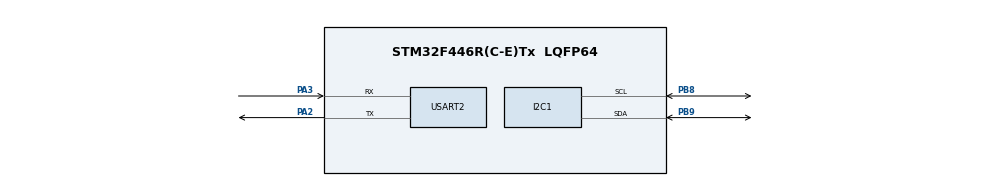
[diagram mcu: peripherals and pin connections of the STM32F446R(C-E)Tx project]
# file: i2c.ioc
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Mcu.Family=STM32F4
Mcu.Name=STM32F446R(C-E)Tx
Mcu.Package=LQFP64
NVIC.PriorityGroup=NVIC_PRIORITYGROUP_4
PA2.Mode=Asynchronous
PA2.Signal=USART2_TX
PA3.Mode=Asynchronous
PA3.Signal=USART2_RX
PB8.GPIO_Pu=GPIO_PULLUP
PB8.Mode=I2C
PB8.Signal=I2C1_SCL
PB9.GPIO_Pu=GPIO_PULLUP
PB9.Mode=I2C
PB9.Signal=I2C1_SDA
ProjectManager.HeapSize=0x200
ProjectManager.StackSize=0x400
ProjectManager.TargetToolchain=CMake
RCC.CortexFreq_Value=16000000
RCC.USBFreq_Value=96000000
RCC.VCOOutputFreq_Value=192000000
USART2.VirtualMode=VM_ASYNC
board=custom

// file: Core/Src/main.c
/* USER CODE BEGIN Header */
/**
  ******************************************************************************
  * @file           : main.c
  * @brief          : Main program body
  ******************************************************************************
  * @attention
  *
  * Copyright (c) 2025 STMicroelectronics.
  * All rights reserved.
  *
  * This software is licensed under terms that can be found in the LICENSE file
  * in the root directory of this software component.
  * If no LICENSE file comes with this software, it is provided AS-IS.
  *
  ******************************************************************************
  */
/* USER CODE END Header */
#include "main.h"
#include <stdio.h>
#include <math.h>

I2C_HandleTypeDef hi2c1;
UART_HandleTypeDef huart2;

/* USER CODE BEGIN PV */
#define MPU6050_ADDR 0xD0
#define SMPLRT_DIV_REG 0x19
#define GYRO_CONFIG_REG 0x1B
#define ACCEL_CONFIG_REG 0x1C
#define PWR_MGMT_1_REG 0x6B
#define WHO_AM_I_REG 0x75

int16_t Accel_X_RAW, Accel_Y_RAW, Accel_Z_RAW;
int16_t Gyro_X_RAW, Gyro_Y_RAW, Gyro_Z_RAW;
float Ax, Ay, Az;
float Gx, Gy, Gz;

float roll = 0, pitch = 0, yaw = 0;
float Gx_off = 0, Gy_off = 0, Gz_off = 0;

uint32_t previous_tick;
float dt = 0.01;
/* USER CODE END PV */

void SystemClock_Config(void);
static void MX_GPIO_Init(void);
static void MX_I2C1_Init(void);
static void MX_USART2_UART_Init(void);

/* USER CODE BEGIN 0 */
void MPU6050_Init (void) {
    uint8_t check, data;

    // 1. 장치 연결 확인 (WHO_AM_I 확인)
    HAL_I2C_Mem_Read(&hi2c1, MPU6050_ADDR, WHO_AM_I_REG, 1, &check, 1, 1000);

    if (check == 0x68) {
        // 장치 깨우기
        data = 0x00;
        HAL_I2C_Mem_Write(&hi2c1, MPU6050_ADDR, PWR_MGMT_1_REG, 1, &data, 1, 1000);
        // 자이로 범위 설정 (+- 500 deg/s)
        data = 0x08;
        HAL_I2C_Mem_Write(&hi2c1, MPU6050_ADDR, GYRO_CONFIG_REG, 1, &data, 1, 1000);
        // 가속도 범위 설정 (+- 2g)
        data = 0x00;
        HAL_I2C_Mem_Write(&hi2c1, MPU6050_ADDR, ACCEL_CONFIG_REG, 1, &data, 1, 1000);

        printf("MPU6050 Initialized Successfully!\r\n");
    }
}

void MPU6050_Read_All(void) {
    uint8_t Rec_Data[14];
    // 가속도(0x3B)부터 14바이트(Accel + Temp + Gyro) 읽기
    HAL_I2C_Mem_Read(&hi2c1, MPU6050_ADDR, 0x3B, 1, Rec_Data, 14, 1000);

    // 가속도 변환 (Sensitivity: 16384.0 for +-2g)
    Accel_X_RAW = (int16_t)(Rec_Data[0] << 8 | Rec_Data[1]);
    Accel_Y_RAW = (int16_t)(Rec_Data[2] << 8 | Rec_Data[3]);
    Accel_Z_RAW = (int16_t)(Rec_Data[4] << 8 | Rec_Data[5]);
    Ax = Accel_X_RAW / 16384.0;
    Ay = Accel_Y_RAW / 16384.0;
    Az = Accel_Z_RAW / 16384.0;

    // 자이로 변환 (Sensitivity: 65.5 for +-500deg/s)
    Gyro_X_RAW = (int16_t)(Rec_Data[8] << 8 | Rec_Data[9]);
    Gyro_Y_RAW = (int16_t)(Rec_Data[10] << 8 | Rec_Data[11]);
    Gyro_Z_RAW = (int16_t)(Rec_Data[12] << 8 | Rec_Data[13]);
    Gx = (Gyro_X_RAW / 65.5) - Gx_off;
    Gy = (Gyro_Y_RAW / 65.5) - Gy_off;
    Gz = (Gyro_Z_RAW / 65.5) - Gz_off;
}

void I2C1_Flush_Bus(void) {
    GPIO_InitTypeDef GPIO_InitStruct = {0};

    // 1. I2C 클럭 및 GPIO 클럭 활성화
    __HAL_RCC_GPIOB_CLK_ENABLE();

    // 2. SCL(PB8)을 일반 출력(Push-Pull)으로 설정
    GPIO_InitStruct.Pin = GPIO_PIN_8;
    GPIO_InitStruct.Mode = GPIO_MODE_OUTPUT_PP;
    GPIO_InitStruct.Pull = GPIO_PULLUP;
    GPIO_InitStruct.Speed = GPIO_SPEED_FREQ_VERY_HIGH;
    HAL_GPIO_Init(GPIOB, &GPIO_InitStruct);

    // 3. SDA(PB9)를 입력으로 설정 (상태 확인용)
    GPIO_InitStruct.Pin = GPIO_PIN_9;
    GPIO_InitStruct.Mode = GPIO_MODE_INPUT;
    HAL_GPIO_Init(GPIOB, &GPIO_InitStruct);

    // 4. SCL을 9번 흔들어서 센서의 전송을 강제 종료시킴
    for (int i = 0; i < 9; i++) {
        HAL_GPIO_WritePin(GPIOB, GPIO_PIN_8, GPIO_PIN_RESET);
        HAL_Delay(1);
        HAL_GPIO_WritePin(GPIOB, GPIO_PIN_8, GPIO_PIN_SET);
        HAL_Delay(1);
    }

    // 5. I2C 핀 설정을 다시 원래대로 돌려놓기 위해 비활성화
    HAL_GPIO_DeInit(GPIOB, GPIO_PIN_8);
    HAL_GPIO_DeInit(GPIOB, GPIO_PIN_9);
}
/* USER CODE END 0 */

int main(void)
{

  /* MCU Configuration--------------------------------------------------------*/

  /* Reset of all peripherals, Initializes the Flash interface and the Systick. */
  HAL_Init();

  /* Configure the system clock */
  SystemClock_Config();

  /* Initialize all configured peripherals */
  MX_GPIO_Init();
  MX_I2C1_Init();
  MX_USART2_UART_Init();
  /* USER CODE BEGIN 2 */
  printf("Power Cycling Sensor...\r\n");

  // 1. 센서 전원 끄기 (PA0 Low)
  HAL_GPIO_WritePin(GPIOA, GPIO_PIN_0, GPIO_PIN_RESET);
  HAL_Delay(500); // 0.5초 대기 (USB 뽑은 효과)

  // 2. 센서 전원 켜기 (PA0 High)
  HAL_GPIO_WritePin(GPIOA, GPIO_PIN_0, GPIO_PIN_SET);
  HAL_Delay(500); // 센서가 부팅될 때까지 충분히 대기

  // 3. 그다음 I2C 버스 청소 및 초기화 실행
  I2C1_Flush_Bus();
  __HAL_RCC_I2C1_FORCE_RESET();
  HAL_Delay(10);
  __HAL_RCC_I2C1_RELEASE_RESET();

  MX_I2C1_Init();
  HAL_Delay(100);

  MPU6050_Init();

  uint8_t who_am_i = 0;
  HAL_StatusTypeDef res = HAL_I2C_Mem_Read(&hi2c1, MPU6050_ADDR, 0x75, 1, &who_am_i, 1, 100);

  if (res == HAL_OK && who_am_i == 0x68) {
      printf("Success! Sensor Found: 0x%X\r\n", who_am_i);
  } else {
      printf("Failed! Error Code: %d, WHO_AM_I: 0x%X\r\n", res, who_am_i);
      // 여기서 실패하면 다시 I2C_Flush_Bus를 실행하거나 소프트웨어 리셋을 고려해야 합니다.
  }

  // 자이로 영점 조절 (Calibration) - 약 1초간 정지 상태 유지 필요
  printf("Calibrating Gyro... Do not move!\r\n");
  float sum_x = 0, sum_y = 0, sum_z = 0;
  for(int i=0; i<200; i++) {
      MPU6050_Read_All();
      sum_x += (Gyro_X_RAW / 65.5);
      sum_y += (Gyro_Y_RAW / 65.5);
      sum_z += (Gyro_Z_RAW / 65.5);
      HAL_Delay(5);
  }
  Gx_off = sum_x / 200.0;
  Gy_off = sum_y / 200.0;
  Gz_off = sum_z / 200.0;
  printf("Calibration Done!\r\n");

  previous_tick = HAL_GetTick();
  /* USER CODE END 2 */

  /* Infinite loop */
  while (1)
  {
    if (HAL_GetTick() - previous_tick >= 10)
    {
      previous_tick = HAL_GetTick();
      MPU6050_Read_All();

      // 1. 가속도로 Roll, Pitch 계산
    float roll_acc = atan2(Ay, Az) * 180.0 / M_PI;
    float pitch_acc = atan2(-Ax, sqrt(Ay * Ay + Az * Az)) * 180.0 / M_PI;

    // 2. 상보 필터 적용
    roll = 0.96 * (roll + Gx * dt) + 0.04 * roll_acc;
    pitch = 0.96 * (pitch + Gy * dt) + 0.04 * pitch_acc;
    yaw += Gz * dt;

    // [추가] 3. Yaw 범위 제한 (0~360도)
    if (yaw >= 360.0f) yaw -= 360.0f;
    if (yaw < 0.0f) yaw += 360.0f;

    // [추가] 4. Roll/Pitch 각도 가독성 처리 (-180~180 범위로 조정)
    if (roll > 180.0f) roll -= 360.0f;
    if (roll < -180.0f) roll += 360.0f;

    // 5. 출력 (방법 2: 소수점 분해 출력 사용)
    int roll_int = (int)roll;
    int roll_dec = (int)(fabs(roll - roll_int) * 100);
    int pitch_int = (int)pitch;
    int pitch_dec = (int)(fabs(pitch - pitch_int) * 100);
    int yaw_int = (int)yaw;
    int yaw_dec = (int)(fabs(yaw - yaw_int) * 100);

    printf("Roll: %d.%02d | Pitch: %d.%02d | Yaw: %d.%02d\r\n",
            roll_int, roll_dec, pitch_int, pitch_dec, yaw_int, yaw_dec);
    }
  }
}

void SystemClock_Config(void)
{
  RCC_OscInitTypeDef RCC_OscInitStruct = {0};
  RCC_ClkInitTypeDef RCC_ClkInitStruct = {0};

  /** Configure the main internal regulator output voltage
  */
  __HAL_RCC_PWR_CLK_ENABLE();
  __HAL_PWR_VOLTAGESCALING_CONFIG(PWR_REGULATOR_VOLTAGE_SCALE3);

  /** Initializes the RCC Oscillators according to the specified parameters
  * in the RCC_OscInitTypeDef structure.
  */
  RCC_OscInitStruct.OscillatorType = RCC_OSCILLATORTYPE_HSI;
  RCC_OscInitStruct.HSIState = RCC_HSI_ON;
  RCC_OscInitStruct.HSICalibrationValue = RCC_HSICALIBRATION_DEFAULT;
  RCC_OscInitStruct.PLL.PLLState = RCC_PLL_NONE;
  if (HAL_RCC_OscConfig(&RCC_OscInitStruct) != HAL_OK)
  {
    Error_Handler();
  }

  /** Initializes the CPU, AHB and APB buses clocks
  */
  RCC_ClkInitStruct.ClockType = RCC_CLOCKTYPE_HCLK|RCC_CLOCKTYPE_SYSCLK
                              |RCC_CLOCKTYPE_PCLK1|RCC_CLOCKTYPE_PCLK2;
  RCC_ClkInitStruct.SYSCLKSource = RCC_SYSCLKSOURCE_HSI;
  RCC_ClkInitStruct.AHBCLKDivider = RCC_SYSCLK_DIV1;
  RCC_ClkInitStruct.APB1CLKDivider = RCC_HCLK_DIV1;
  RCC_ClkInitStruct.APB2CLKDivider = RCC_HCLK_DIV1;

  if (HAL_RCC_ClockConfig(&RCC_ClkInitStruct, FLASH_LATENCY_0) != HAL_OK)
  {
    Error_Handler();
  }
}

static void MX_I2C1_Init(void)
{

  hi2c1.Instance = I2C1;
  hi2c1.Init.ClockSpeed = 100000;
  hi2c1.Init.DutyCycle = I2C_DUTYCYCLE_2;
  hi2c1.Init.OwnAddress1 = 0;
  hi2c1.Init.AddressingMode = I2C_ADDRESSINGMODE_7BIT;
  hi2c1.Init.DualAddressMode = I2C_DUALADDRESS_DISABLE;
  hi2c1.Init.OwnAddress2 = 0;
  hi2c1.Init.GeneralCallMode = I2C_GENERALCALL_DISABLE;
  hi2c1.Init.NoStretchMode = I2C_NOSTRETCH_DISABLE;
  if (HAL_I2C_Init(&hi2c1) != HAL_OK)
  {
    Error_Handler();
  }

}

static void MX_USART2_UART_Init(void)
{

  huart2.Instance = USART2;
  huart2.Init.BaudRate = 115200;
  huart2.Init.WordLength = UART_WORDLENGTH_8B;
  huart2.Init.StopBits = UART_STOPBITS_1;
  huart2.Init.Parity = UART_PARITY_NONE;
  huart2.Init.Mode = UART_MODE_TX_RX;
  huart2.Init.HwFlowCtl = UART_HWCONTROL_NONE;
  huart2.Init.OverSampling = UART_OVERSAMPLING_16;
  if (HAL_UART_Init(&huart2) != HAL_OK)
  {
    Error_Handler();
  }

}

static void MX_GPIO_Init(void)
{

  /* GPIO Ports Clock Enable */
  __HAL_RCC_GPIOA_CLK_ENABLE();
  __HAL_RCC_GPIOB_CLK_ENABLE();

}

/* USER CODE BEGIN 4 */
int _write(int file, char *ptr, int len)
{
  HAL_UART_Transmit(&huart2, (uint8_t *)ptr, len, 10);
  return len;
}
/* USER CODE END 4 */

void Error_Handler(void)
{
  __disable_irq();
  while (1)
  {
  }
}
